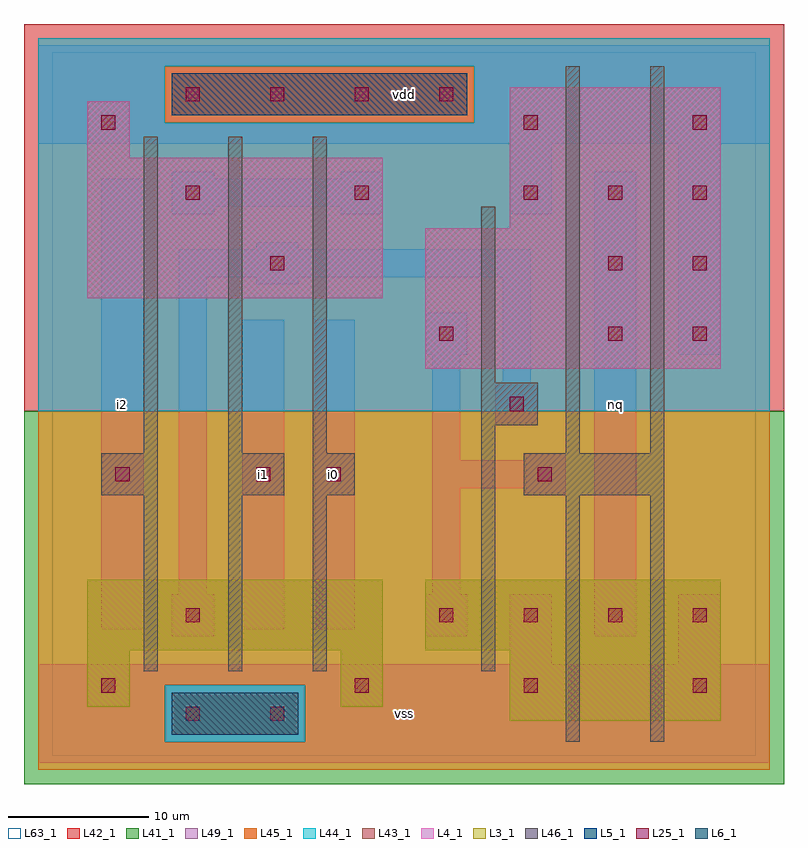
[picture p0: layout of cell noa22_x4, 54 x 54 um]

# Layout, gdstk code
import gdstk
lib = gdstk.Library(unit=1e-6, precision=1e-09)
def R(c, l, rs):  # rectangles x0, y0, x1, y1
    for r in rs: c.add(gdstk.rectangle(r[:2], r[2:], *l))
def A(c, l, x, y, w, h, nx, ny, dx, dy):  # array of equal rectangles
    R(c, l, [(x+i*dx, y+j*dy, x+i*dx+w, y+j*dy+h) for i in range(nx) for j in range(ny)])
L3_1 = (3, 1)
L4_1 = (4, 1)
L5_1 = (5, 1)
L6_1 = (6, 1)
L25_1 = (25, 1)
L41_1 = (41, 1)
L42_1 = (42, 1)
L43_1 = (43, 1)
L44_1 = (44, 1)
L45_1 = (45, 1)
L46_1 = (46, 1)
L49_1 = (49, 1)
L63_1 = (63, 1)

noa22_x4 = lib.new_cell('noa22_x4')
R(noa22_x4, L3_1, [(32.5,2.5,47.5,7.5), (2.5,3.5,5.5,7.5), (20.5,3.5,23.5,7.5), (2.5,7.5,23.5,12.5), (26.5,7.5,47.5,12.5)])
R(noa22_x4, L4_1, [(26.5,27.5,47.5,37.5), (2.5,32.5,23.5,42.5), (32.5,37.5,47.5,47.5), (2.5,42.5,5.5,46.5)])
R(noa22_x4, L5_1, [(8.5,45.5,29.5,48.5)])
R(noa22_x4, L6_1, [(8.5,1.5,17.5,4.5)])
A(noa22_x4, L25_1, 21.5, 4.5, 1, 1, 3, 1, 12, 0)
A(noa22_x4, L25_1, 27.5, 9.5, 1, 1, 4, 1, 6, 0)
A(noa22_x4, L25_1, 39.5, 29.5, 1, 1, 1, 3, 0, 5)
A(noa22_x4, L25_1, 45.5, 29.5, 1, 1, 1, 4, 0, 5)
A(noa22_x4, L25_1, 9.5, 39.5, 1, 1, 3, 1, 12, 0)
A(noa22_x4, L25_1, 9.5, 46.5, 1, 1, 4, 1, 6, 0)
R(noa22_x4, L25_1, [(9.5,2.5,10.5,3.5), (15.5,2.5,16.5,3.5), (3.5,4.5,4.5,5.5), (9.5,9.5,10.5,10.5), (4.5,19.5,5.5,20.5), (14.5,19.5,15.5,20.5), (19.5,19.5,20.5,20.5), (34.5,19.5,35.5,20.5), (32.5,24.5,33.5,25.5), (27.5,29.5,28.5,30.5), (15.5,34.5,16.5,35.5), (3.5,44.5,4.5,45.5), (33.5,44.5,34.5,45.5)])
R(noa22_x4, L41_1, [(-2,-2,52,24.5)])
R(noa22_x4, L42_1, [(-2,24.5,52,52)])
R(noa22_x4, L43_1, [(8.5,1.5,17.5,4.5), (32.5,2.5,47.5,7.5), (2.5,3.5,5.5,7.5), (20.5,3.5,23.5,7.5), (2.5,7.5,23.5,12.5), (26.5,7.5,47.5,12.5), (26.5,27.5,47.5,37.5), (2.5,32.5,23.5,42.5), (32.5,37.5,47.5,47.5), (2.5,42.5,5.5,46.5), (8.5,45.5,29.5,48.5)])
R(noa22_x4, L44_1, [(8,1,18,5), (-1,24.5,51,45), (-1,45,8,49), (30,45,51,49), (-1,49,51,51)])
R(noa22_x4, L45_1, [(-1,-1,51,1), (-1,1,8,5), (18,1,51,5), (-1,5,51,24.5), (8,45,30,49)])
A(noa22_x4, L46_1, 6.5, 6, 1, 12.5, 3, 1, 6, 0)
A(noa22_x4, L46_1, 6.5, 21.5, 1, 22.5, 3, 1, 6, 0)
R(noa22_x4, L46_1, [(36.5,1,37.5,18.5), (42.5,1,43.5,18.5), (30.5,6,31.5,23.5), (3.5,18.5,7.5,21.5), (12.5,18.5,16.5,21.5), (18.5,18.5,21.5,21.5), (33.5,18.5,43.5,21.5), (36.5,21.5,37.5,49), (42.5,21.5,43.5,49), (30.5,23.5,34.5,26.5), (30.5,26.5,31.5,39)])
R(noa22_x4, L49_1, [(-1,-0.5,51,6.5), (32.5,6.5,35.5,11.5), (44.5,6.5,47.5,11.5), (8.5,8.5,11.5,11.5), (26.5,8.5,29.5,11.5), (38.5,8.5,41.5,41.5), (3.5,9,6.5,41), (13.5,9,16.5,31), (18.5,9,21.5,31), (9,11.5,11,34), (27,11.5,29,19), (33.5,18.5,36.5,19), (27,19,36.5,21), (27,21,29,28.5), (33.5,21,36.5,21.5), (31.5,23.5,34.5,26.5), (32,26.5,34,34), (26.5,28.5,29.5,31.5), (44.5,28.5,47.5,43.5), (14.5,33.5,17.5,34), (9,34,34,36), (14.5,36,17.5,36.5), (8.5,38.5,11.5,39), (20.5,38.5,23.5,39), (32.5,38.5,35.5,43.5), (8.5,39,23.5,41), (8.5,41,11.5,41.5), (20.5,41,23.5,41.5), (-1,43.5,51,50.5)])
R(noa22_x4, L63_1, [(0,0,50,50)])
noa22_x4.add(gdstk.Label('i2', (5,25), layer=49, texttype=1))
noa22_x4.add(gdstk.Label('i2', (5,25), layer=49, texttype=1))
noa22_x4.add(gdstk.Label('i1', (15,20), layer=49, texttype=1))
noa22_x4.add(gdstk.Label('i0', (20,20), layer=49, texttype=1))
noa22_x4.add(gdstk.Label('i0', (20,20), layer=49, texttype=1))
noa22_x4.add(gdstk.Label('i1', (15,20), layer=49, texttype=1))
noa22_x4.add(gdstk.Label('vss', (25,3), layer=49, texttype=1))
noa22_x4.add(gdstk.Label('vss', (25,3), layer=49, texttype=1))
noa22_x4.add(gdstk.Label('vdd', (25,47), layer=49, texttype=1))
noa22_x4.add(gdstk.Label('vdd', (25,47), layer=49, texttype=1))
noa22_x4.add(gdstk.Label('nq', (40,25), layer=49, texttype=1))
noa22_x4.add(gdstk.Label('nq', (40,25), layer=49, texttype=1))

lib.write_gds('noa22_x4.gds')
